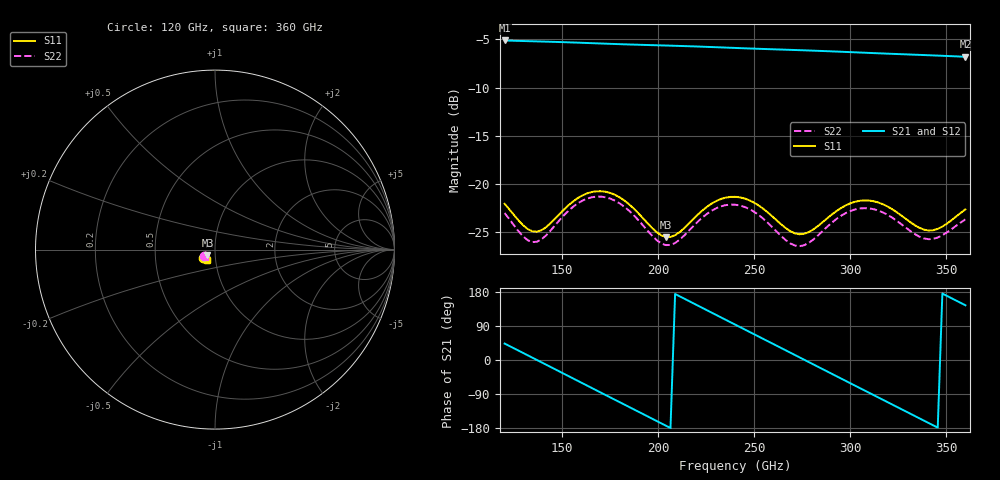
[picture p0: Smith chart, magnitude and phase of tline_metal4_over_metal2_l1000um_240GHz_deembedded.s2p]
! Created with skrf 2.0.1 (http://scikit-rf.org).
# GHz S DB R 50.0
!freq dBS11 angS11 dBS21 angS21 dBS12 angS12 dBS22 angS22
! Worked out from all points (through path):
!   101 points, 120 GHz to 360 GHz, reference 50 ohm
!   highest |S21| = -5.10 dB at 120 GHz (marker M1); lowest = -6.8 dB at 360 GHz (marker M2)
!   group delay of S21, straight-line fit = 7.17 ps
!   lowest |S11| = -25.5 dB at 204 GHz (marker M3), VSWR 1.11, Z = 45.9 - j2.97 ohm
!   |S11| at or under -10 dB: start of sweep to end of sweep
!   |S22| runs from -26.4 to -21.3 dB; largest |S21 - S12| = 9.1e-13
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120  -22.04 -144.1  -5.10 43.4  -5.10 43.4  -23.00 -148.1
132  -24.66 -138.3  -5.17 12.5  -5.17 12.5  -25.82 -140.3
139.2  -24.78 -127.0  -5.21 -6.1  -5.21 -6.1  -25.73 -127.5
148.8  -23.06 -119.9  -5.27 -30.9  -5.27 -30.9  -23.69 -121.2
160.8  -21.15 -127.2  -5.35 -61.9  -5.35 -61.9  -21.69 -130.3
170.4  -20.74 -138.1  -5.42 -86.7  -5.42 -86.7  -21.30 -142.3
180  -21.38 -148.6  -5.48 -111.5  -5.48 -111.5  -22.01 -153.7
192  -23.52 -154.5  -5.56 -142.4  -5.56 -142.4  -24.27 -160.4
201.6  -25.31 -146.4  -5.61 -167.2  -5.61 -167.2  -26.15 -152.2
204  -25.49 -142.6  -5.63 -173.4  -5.63 -173.4  -26.33 -148.2
220.8  -23.13 -127.5  -5.73 143.2  -5.73 143.2  -23.86 -133.8
230.4  -21.74 -133.0  -5.80 118.4  -5.80 118.4  -22.49 -140.2
240  -21.32 -142.3  -5.88 93.6  -5.88 93.6  -22.14 -150.3
249.6  -21.89 -151.0  -5.95 68.9  -5.95 68.9  -22.83 -159.7
261.6  -23.74 -154.7  -6.03 38.0  -6.03 38.0  -24.91 -163.5
271.2  -25.11 -146.8  -6.09 13.2  -6.09 13.2  -26.37 -154.1
280.8  -24.70 -134.6  -6.16 -11.6  -6.16 -11.6  -25.75 -141.0
302.4  -21.84 -137.4  -6.33 -67.3  -6.33 -67.3  -22.63 -146.1
312  -21.77 -145.1  -6.41 -92.0  -6.41 -92.0  -22.59 -154.8
321.6  -22.57 -150.9  -6.49 -116.7  -6.49 -116.7  -23.45 -161.4
340.8  -24.81 -141.6  -6.63 -166.1  -6.63 -166.1  -25.71 -153.3
360  -22.62 -129.2  -6.79 144.4  -6.79 144.4  -23.66 -143.8
